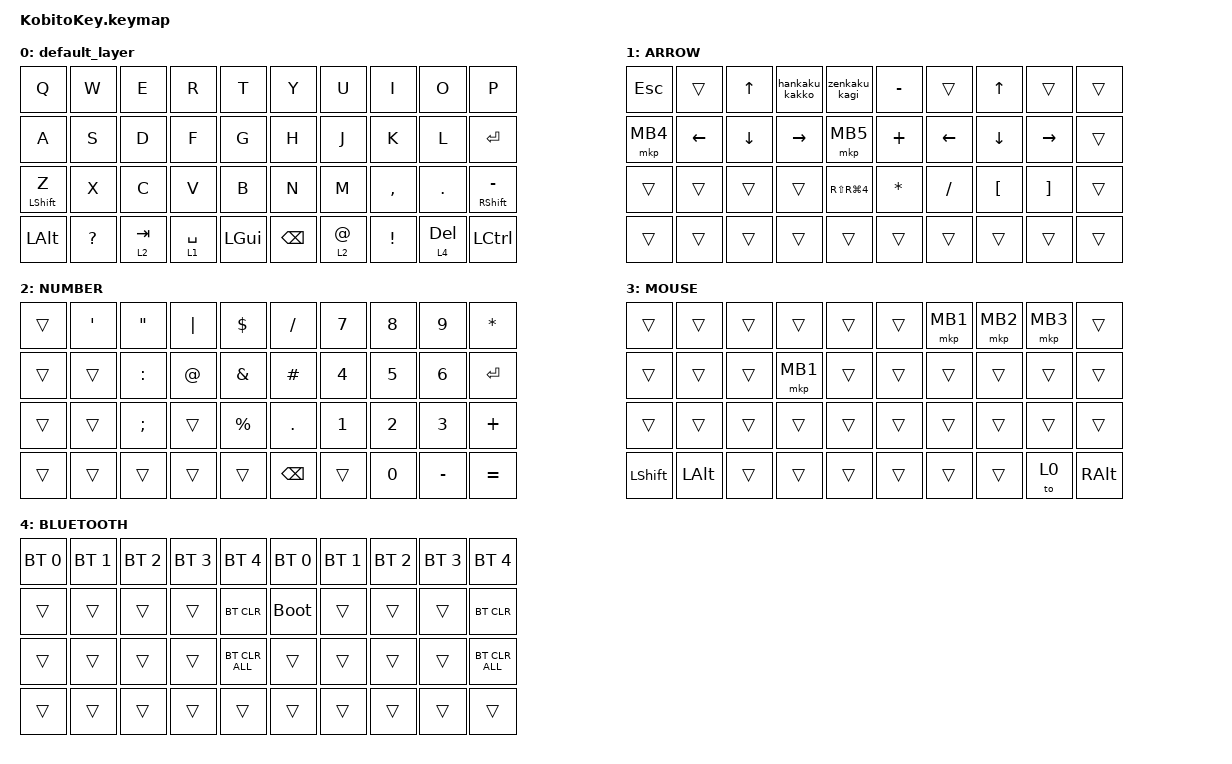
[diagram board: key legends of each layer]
#include <input/processors.dtsi>
#include <behaviors.dtsi>
#include <dt-bindings/zmk/bt.h>
#include <dt-bindings/zmk/keys.h>
#include <dt-bindings/zmk/pointing.h>

/ {
    combos {
        compatible = "zmk,combos";

        combo_eisu {
            timeout-ms = <50>;
            key-positions = <12 13>;
            bindings = <&kp LANG2>;
        };

        combo_kana {
            timeout-ms = <50>;
            key-positions = <16 17>;
            bindings = <&kp LANG1>;
        };

        combo_esc {
            timeout-ms = <50>;
            key-positions = <0 1>;
            bindings = <&kp ESC>;
        };

        combo_tab {
            timeout-ms = <50>;
            key-positions = <10 11>;
            bindings = <&kp TAB>;
        };
    };

    macros {
        num_eisu: num_eisu {
            compatible = "zmk,behavior-macro";
            #binding-cells = <0>;
            bindings = <&kp LANG2 &to 2>;
            label = "NUM_EISU";
        };

        re_to_L0: re_to_L0 {
            compatible = "zmk,behavior-macro";
            #binding-cells = <0>;
            bindings = <&to 0 &kp LANG1>;
            label = "RE_TO_L0";
        };

        zenkaku_kagi: eisu_kagi {
            compatible = "zmk,behavior-macro";
            #binding-cells = <0>;
            bindings = <&kp LANG1 &kp LEFT_BRACKET &kp RIGHT_BRACKET &kp ENTER &kp LEFT_ARROW>;
            label = "EISU_KAGI";
        };

        hankaku_kakko: han_kakko {
            compatible = "zmk,behavior-macro";
            #binding-cells = <0>;
            bindings = <&kp LANG2 &kp LEFT_PARENTHESIS &kp RIGHT_PARENTHESIS &kp LEFT_ARROW &kp LANG1>;
            label = "HAN_KAKKO";
        };
    };

    behaviors {
        hold_kp: hold_kp {
            compatible = "zmk,behavior-hold-tap";
            #binding-cells = <2>;
            flavor = "tap-preferred";
            tapping-term-ms = <200>;
            quick-tap-ms = <200>;
            require-prior-idle-ms = <125>;
            bindings = <&kp>, <&kp>;
        };
    };

    keymap {
        compatible = "zmk,keymap";

        default_layer {
            bindings = <
&kp Q             &kp W         &kp E      &kp R        &kp T         &kp Y     &kp U          &kp I            &kp O      &kp P
&kp A             &kp S         &kp D      &kp F        &kp G         &kp H     &kp J          &kp K            &kp L      &kp ENTER
&mt LEFT_SHIFT Z  &kp X         &kp C      &kp V        &kp B         &kp N     &kp M          &kp COMMA        &kp DOT    &mt RIGHT_SHIFT MINUS
&kp LEFT_ALT      &kp QUESTION  &lt 2 TAB  &lt 1 SPACE  &kp LEFT_GUI  &kp BSPC  &lt 2 AT_SIGN  &kp EXCLAMATION  &lt 4 DEL  &kp LEFT_CONTROL
            >;
        };

        layer1 {
            label = "ARROW";
            bindings = <
&kp ESCAPE  &trans          &kp UP_ARROW    &hankaku_kakko   &zenkaku_kagi         &kp MINUS  &trans     &kp UP    &trans     &trans
&mkp MB4    &kp LEFT_ARROW  &kp DOWN_ARROW  &kp RIGHT_ARROW  &mkp MB5              &kp PLUS   &kp LEFT   &kp DOWN  &kp RIGHT  &trans
&trans      &trans          &trans          &trans           &kp RS(RG(NUMBER_4))  &kp ASTRK  &kp SLASH  &kp LBKT  &kp RBKT   &trans
&trans      &trans          &trans          &trans           &trans                &trans     &trans     &trans    &trans     &trans
            >;
        };

        layer2 {
            label = "NUMBER";
            bindings = <
&trans  &kp SINGLE_QUOTE  &kp DOUBLE_QUOTES  &kp PIPE     &kp DOLLAR     &kp SLASH      &kp N7        &kp N8        &kp N9        &kp ASTRK
&trans  &trans            &kp COLON          &kp AT_SIGN  &kp AMPERSAND  &kp HASH       &kp NUMBER_4  &kp N5        &kp NUMBER_6  &kp ENTER
&trans  &trans            &kp SEMI           &trans       &kp PERCENT    &kp PERIOD     &kp NUMBER_1  &kp NUMBER_2  &kp NUMBER_3  &kp PLUS
&trans  &trans            &trans             &trans       &trans         &kp BACKSPACE  &trans        &kp N0        &kp MINUS     &kp EQUAL
            >;
        };

        layer3 {
            label = "MOUSE";
            bindings = <
&trans     &trans        &trans  &trans    &trans  &trans  &mkp MB1  &mkp MB2  &mkp MB3  &trans
&trans     &trans        &trans  &mkp MB1  &trans  &trans  &trans    &trans    &trans    &trans
&trans     &trans        &trans  &trans    &trans  &trans  &trans    &trans    &trans    &trans
&kp LSHFT  &kp LEFT_ALT  &trans  &trans    &trans  &trans  &trans    &trans    &to 0     &kp RALT
            >;
        };

        layer_4 {
            bindings = <
&bt BT_SEL 0  &bt BT_SEL 1  &bt BT_SEL 2  &bt BT_SEL 3  &bt BT_SEL 4    &bt BT_SEL 0  &bt BT_SEL 1  &bt BT_SEL 2  &bt BT_SEL 3  &bt BT_SEL 4
&trans        &trans        &trans        &trans        &bt BT_CLR      &bootloader   &trans        &trans        &trans        &bt BT_CLR
&trans        &trans        &trans        &trans        &bt BT_CLR_ALL  &trans        &trans        &trans        &trans        &bt BT_CLR_ALL
&trans        &trans        &trans        &trans        &trans          &trans        &trans        &trans        &trans        &trans
            >;

            label = "BLUETOOTH";
        };
    };
};
